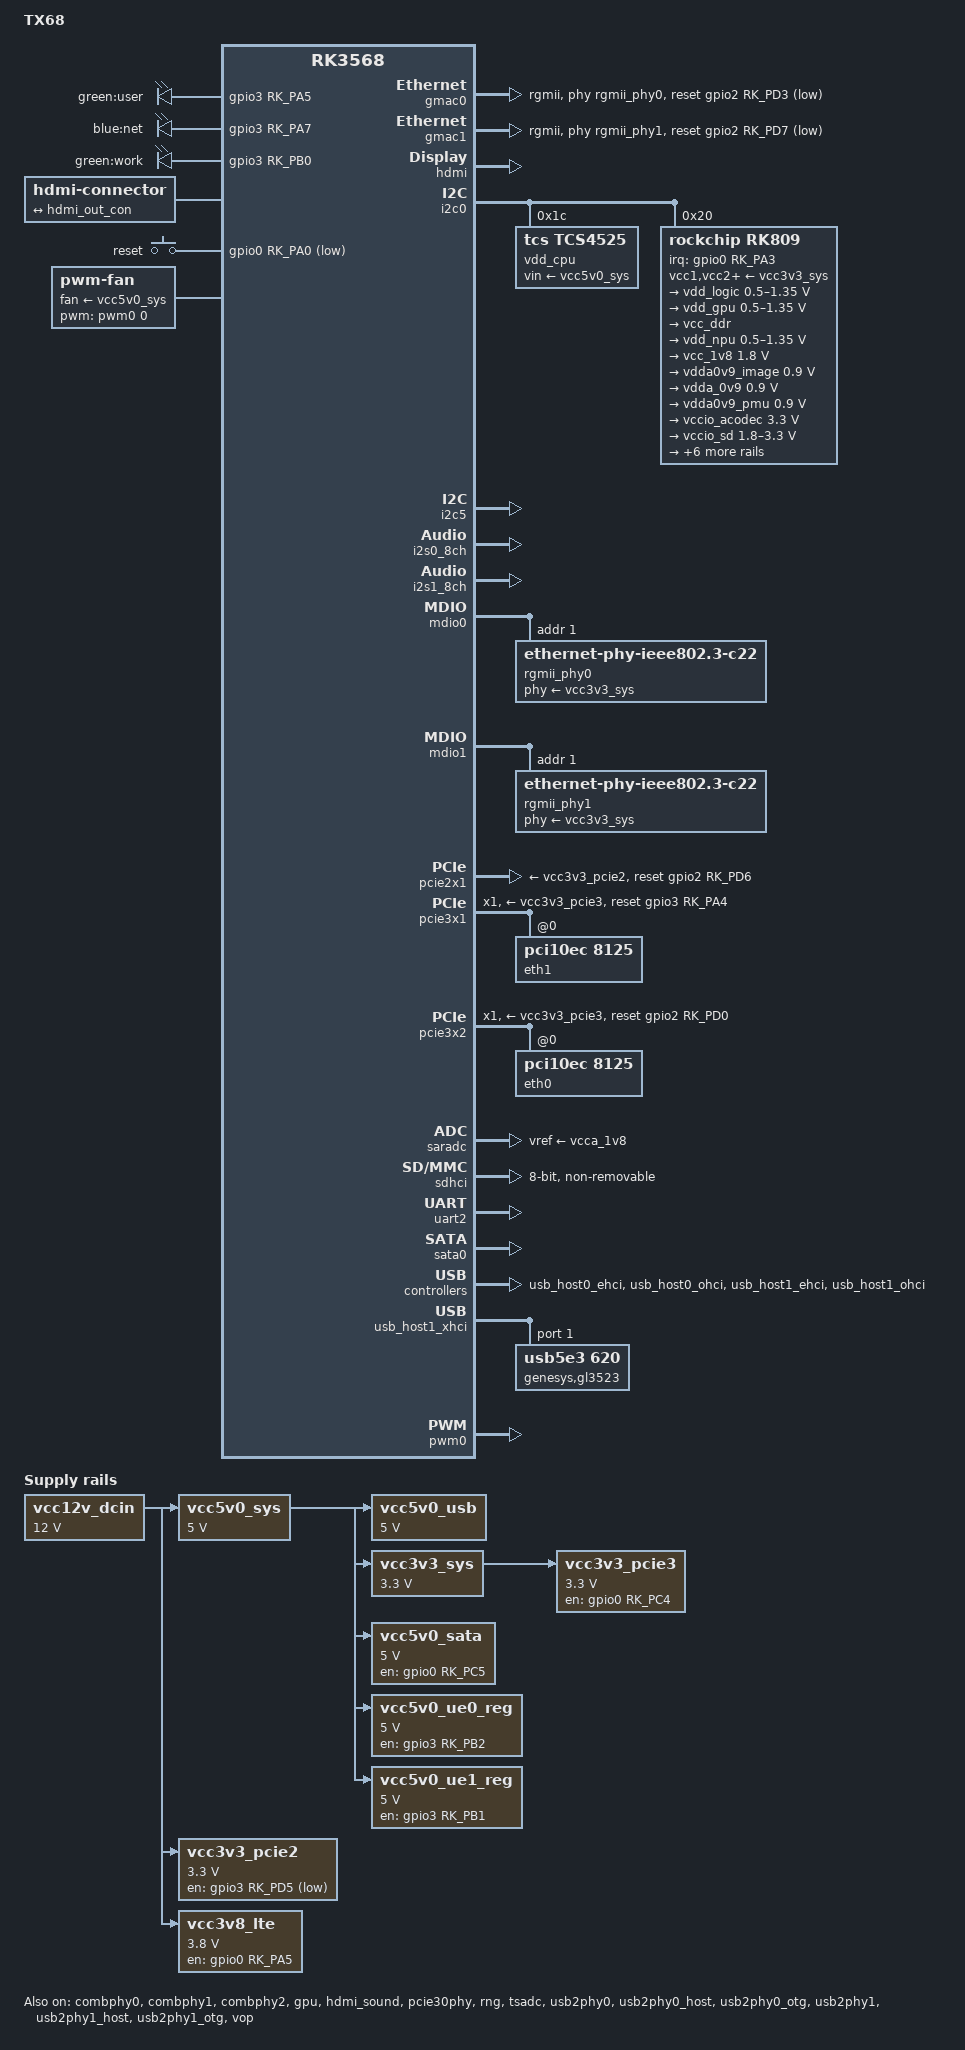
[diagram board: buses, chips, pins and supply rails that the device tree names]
// SPDX-License-Identifier: (GPL-2.0+ OR MIT)
// Copyright (c) 2024 flippy <flippy@sina.com>

/dts-v1/;

#include <dt-bindings/gpio/gpio.h>
#include <dt-bindings/leds/common.h>
#include <dt-bindings/input/input.h>
#include <dt-bindings/pinctrl/rockchip.h>
#include <dt-bindings/soc/rockchip,vop2.h>
#include "rk3568.dtsi"

/ {
	model = "TX68";
	compatible = "rk3568,tx68", "rockchip,rk3568";

	aliases {
		ethernet0 = &rtl8125_2;
		ethernet1 = &rtl8125_1;
		ethernet2 = &gmac1;
		ethernet3 = &gmac0;
		ethernet4 = &rtl8153_1;
		ethernet5 = &rtl8153_2;
		mmc0 = &sdhci;
	};

	chosen: chosen {
		stdout-path = "serial2:1500000n8";
	};

	leds: leds {
		compatible = "gpio-leds";
		pinctrl-names = "default";
		pinctrl-0 = <&led_green_en>, <&led_net_en>, <&led_work_en>;

		led_green: led-green {
			label = "green:user";
			gpios = <&gpio3 RK_PA5 GPIO_ACTIVE_HIGH>;
		};

		led_net: led-net {
			label = "blue:net";
			gpios = <&gpio3 RK_PA7 GPIO_ACTIVE_HIGH>;
		};

		led_work: led-work {
			label = "green:work";
			gpios = <&gpio3 RK_PB0 GPIO_ACTIVE_HIGH>;
		};
	};

	hdmi-con {
		compatible = "hdmi-connector";
		type = "a";

		port {
			hdmi_con_in: endpoint {
				remote-endpoint = <&hdmi_out_con>;
			};
		};
	};

	keys {
		compatible = "gpio-keys";
		pinctrl-0 = <&reset_button_pin>;
		pinctrl-names = "default";

		reset {
			label = "reset";
			gpios = <&gpio0 RK_PA0 GPIO_ACTIVE_LOW>;
			linux,code = <KEY_RESTART>;
			debounce-interval = <50>;
		};
	};


 	fan: pwm-fan {
 		compatible = "pwm-fan";
		cooling-levels = <0 127 163 255>;
 		#cooling-cells = <2>;
 		fan-supply = <&vcc5v0_sys>;
 		pwms = <&pwm0 0 50000 0>;
	};

	rk809-sound {
		compatible = "simple-audio-card";
		simple-audio-card,format = "i2s";
		simple-audio-card,name = "Analog RK809";
		simple-audio-card,mclk-fs = <256>;

		simple-audio-card,cpu {
			sound-dai = <&i2s1_8ch>;
		};
		simple-audio-card,codec {
			sound-dai = <&rk809>;
		};
	};

	rfkill_switchs {
		compatible = "rfkill-gpio";

		modem {
			label = "lte-modem";
			radio-type = "wwan";
			reset-gpios = <&gpio0 RK_PC0 GPIO_ACTIVE_HIGH>;
			pinctrl-names = "default";
			pinctrl-0 = <&lte_modem_reset>;
		};
	};

	vcc12v_dcin: vcc-12v-regulator {
		compatible = "regulator-fixed";
		regulator-name = "vcc12v_dcin";
		regulator-always-on;
		regulator-boot-on;
		regulator-min-microvolt = <12000000>;
		regulator-max-microvolt = <12000000>;
	};

	vcc5v0_sys: vcc5v0-sys-regulator {
		compatible = "regulator-fixed";
		regulator-name = "vcc5v0_sys";
		regulator-always-on;
		regulator-boot-on;
		regulator-min-microvolt = <5000000>;
		regulator-max-microvolt = <5000000>;
		vin-supply = <&vcc12v_dcin>;
	};

	vcc5v0_usb: vcc5v0-usb-regulator {
		compatible = "regulator-fixed";
		regulator-name = "vcc5v0_usb_regulator";
		regulator-always-on;
		regulator-boot-on;
		regulator-min-microvolt = <5000000>;
		regulator-max-microvolt = <5000000>;
		vin-supply = <&vcc5v0_sys>;
	};

	vcc3v3_sys: vcc3v3-sys-regulator {
		compatible = "regulator-fixed";
		regulator-name = "vcc3v3_sys";
		regulator-always-on;
		regulator-boot-on;
		regulator-min-microvolt = <3300000>;
		regulator-max-microvolt = <3300000>;
		vin-supply = <&vcc5v0_sys>;
	};

	/* minipcie power : wifi */
	vcc3v3_pcie2: vcc3v3-pcie2-regulator {
		compatible = "regulator-fixed";
		regulator-min-microvolt = <3300000>;
		regulator-max-microvolt = <3300000>;
		regulator-name = "vcc3v3_pcie2";
		regulator-boot-on;
		regulator-always-on;

		gpio = <&gpio3 RK_PD5 GPIO_ACTIVE_LOW>;

		pinctrl-names = "default";
		pinctrl-0 = <&vcc3v3_pcie2_en>;
		vin-supply = <&vcc12v_dcin>;
	};

	/* eth 2.5g power */
	vcc3v3_pcie3: vcc3v3-pcie3-regulator {
		compatible = "regulator-fixed";
		regulator-min-microvolt = <3300000>;
		regulator-max-microvolt = <3300000>;
		regulator-name = "vcc3v3_pcie3";
		regulator-boot-on;
		regulator-always-on;

		enable-active-high;
		gpio = <&gpio0 RK_PC4 GPIO_ACTIVE_HIGH>;

		pinctrl-names = "default";
		pinctrl-0 = <&vcc3v3_pcie3_en>;
		vin-supply = <&vcc3v3_sys>;
	};

	vcc3v8_lte: vcc3v8-lte-regulator {
		compatible = "regulator-fixed";

		regulator-name = "vcc3v8_lte_regulator";
		regulator-min-microvolt = <3800000>;
		regulator-max-microvolt = <3800000>;

		enable-active-high;
		gpio = <&gpio0 RK_PA5 GPIO_ACTIVE_HIGH>;
		pinctrl-names = "default";
		pinctrl-0 = <&vcc3v8_lte_pwr_en>;

		vin-supply = <&vcc12v_dcin>;

	};

	/* m.2 sata power */
	vcc5v0_sata: vcc5v0-sata {
		compatible = "regulator-fixed";
		regulator-name = "vcc5v0_sata";
		regulator-min-microvolt = <5000000>;
		regulator-max-microvolt = <5000000>;
		regulator-boot-on;
		regulator-always-on;

		enable-active-high;
		gpio = <&gpio0 RK_PC5 GPIO_ACTIVE_HIGH>;
		pinctrl-names = "default";
		pinctrl-0 = <&sata_pwr_en>;
		vin-supply = <&vcc5v0_sys>;
	};

	vcc5v0_ue0_reg: vcc5v0-ue0-regulator {
		compatible = "regulator-fixed";

		regulator-name = "vcc5v0_ue0_regulator";
		regulator-min-microvolt = <5000000>;
		regulator-max-microvolt = <5000000>;
		regulator-boot-on;
		regulator-always-on;

		enable-active-high;
		gpio = <&gpio3 RK_PB2 GPIO_ACTIVE_HIGH>;
		pinctrl-names = "default";
		pinctrl-0 = <&vcc5v0_ue0_reg_en>;

		vin-supply = <&vcc5v0_sys>;
	};

	vcc5v0_ue1_reg: vcc5v0-ue1-regulator {
		compatible = "regulator-fixed";

		regulator-name = "vcc5v0_ue1_regulator";
		regulator-min-microvolt = <5000000>;
		regulator-max-microvolt = <5000000>;
		regulator-boot-on;
		regulator-always-on;

		enable-active-high;
		gpio = <&gpio3 RK_PB1 GPIO_ACTIVE_HIGH>;
		pinctrl-names = "default";
		pinctrl-0 = <&vcc5v0_ue1_reg_en>;

		vin-supply = <&vcc5v0_sys>;
	};
};

/* for sata0 & usb_host0_xhci */
&combphy0 {
	status = "okay";
};

/* for sata1 & usb_host1_xhci */
&combphy1 {
	status = "okay";
};

/* for sata2 & pcie2x1 */
&combphy2 {
	status = "okay";
};

&cpu0 {
	cpu-supply = <&vdd_cpu>;
};

&cpu1 {
	cpu-supply = <&vdd_cpu>;
};

&cpu2 {
	cpu-supply = <&vdd_cpu>;
};

&cpu3 {
	cpu-supply = <&vdd_cpu>;
};

&gmac0 {
	assigned-clocks = <&cru SCLK_GMAC0_RX_TX>, <&cru SCLK_GMAC0>;
	assigned-clock-parents = <&cru SCLK_GMAC0_RGMII_SPEED>;
	assigned-clock-rates = <0>, <125000000>;
	clock_in_out = "output";
	phy-mode = "rgmii";
	label = "eth3";
	pinctrl-names = "default";
	pinctrl-0 = <&gmac0_miim
		     &gmac0_tx_bus2
		     &gmac0_rx_bus2
		     &gmac0_rgmii_clk
		     &gmac0_rgmii_bus>;
	snps,reset-gpio = <&gpio2 RK_PD3 GPIO_ACTIVE_LOW>;
	snps,reset-active-low;
	snps,reset-delays-us = <0 50000 200000>;
	tx_delay = <0x36>;
	rx_delay = <0x29>;
	phy-handle = <&rgmii_phy0>;
	status = "okay";
};

&gmac1 {
	assigned-clocks = <&cru SCLK_GMAC1_RX_TX>, <&cru SCLK_GMAC1>;
	assigned-clock-parents = <&cru SCLK_GMAC1_RGMII_SPEED>;
	assigned-clock-rates = <0>, <125000000>;
	clock_in_out = "output";
	label = "eth2";
	phy-mode = "rgmii";
	pinctrl-names = "default";
	pinctrl-0 = <&gmac1m1_miim
		     &gmac1m1_tx_bus2
		     &gmac1m1_rx_bus2
		     &gmac1m1_rgmii_clk
		     &gmac1m1_rgmii_bus>;
	snps,reset-gpio = <&gpio2 RK_PD7 GPIO_ACTIVE_LOW>;
	snps,reset-active-low;
	snps,reset-delays-us = <0 50000 200000>;
	tx_delay = <0x46>;
	rx_delay = <0x26>;
	phy-handle = <&rgmii_phy1>;
	status = "okay";
};

&gpu {
	mali-supply = <&vdd_gpu>;
	status = "okay";
};

&hdmi {
	avdd-0v9-supply = <&vdda0v9_image>;
	avdd-1v8-supply = <&vcca1v8_image>;
	status = "okay";
};

&hdmi_in {
	hdmi_in_vp0: endpoint {
		remote-endpoint = <&vp0_out_hdmi>;
	};
};

&hdmi_out {
	hdmi_out_con: endpoint {
		remote-endpoint = <&hdmi_con_in>;
	};
};

&hdmi_sound {
	status = "okay";
};

&i2c0 {
	status = "okay";

	vdd_cpu: regulator@1c {
		compatible = "tcs,tcs4525";
		reg = <0x1c>;
		fcs,suspend-voltage-selector = <1>;
		regulator-name = "vdd_cpu";
		regulator-always-on;
		regulator-boot-on;
		regulator-min-microvolt = <800000>;
		regulator-max-microvolt = <1150000>;
		regulator-ramp-delay = <2300>;
		vin-supply = <&vcc5v0_sys>;

		regulator-state-mem {
			regulator-off-in-suspend;
		};
	};

	rk809: pmic@20 {
		compatible = "rockchip,rk809";
		reg = <0x20>;

		interrupt-parent = <&gpio0>;
		interrupts = <RK_PA3 IRQ_TYPE_LEVEL_LOW>;

		assigned-clocks = <&cru I2S1_MCLKOUT_TX>;
		assigned-clock-parents = <&cru CLK_I2S1_8CH_TX>;
		#sound-dai-cells = <0>;

		#clock-cells = <1>;
		clock-names = "mclk";
		clocks = <&cru I2S1_MCLKOUT_TX>;

		pinctrl-names = "default";
		pinctrl-0 = <&pmic_int>, <&i2s1m0_mclk>;

		rockchip,system-power-controller;
		wakeup-source;

		vcc1-supply = <&vcc3v3_sys>;
		vcc2-supply = <&vcc3v3_sys>;
		vcc3-supply = <&vcc3v3_sys>;
		vcc4-supply = <&vcc3v3_sys>;
		vcc5-supply = <&vcc3v3_sys>;
		vcc6-supply = <&vcc3v3_sys>;
		vcc7-supply = <&vcc3v3_sys>;
		vcc8-supply = <&vcc3v3_sys>;
		vcc9-supply = <&vcc3v3_sys>;

		pwrkey {
			status = "okay";
		};

		pinctrl_rk8xx: pinctrl_rk8xx {
			gpio-controller;
			#gpio-cells = <2>;

			rk817_slppin_null: rk817_slppin_null {
				pins = "gpio_slp";
				function = "pin_fun0";
			};

			rk817_slppin_slp: rk817_slppin_slp {
				pins = "gpio_slp";
				function = "pin_fun1";
			};

			rk817_slppin_pwrdn: rk817_slppin_pwrdn {
				pins = "gpio_slp";
				function = "pin_fun2";
			};

			rk817_slppin_rst: rk817_slppin_rst {
				pins = "gpio_slp";
				function = "pin_fun3";
			};
		};

		regulators {
			vdd_logic: DCDC_REG1 {
				regulator-name = "vdd_logic";
				regulator-always-on;
				regulator-boot-on;
				regulator-init-microvolt = <900000>;
				regulator-initial-mode = <0x2>;
				regulator-min-microvolt = <500000>;
				regulator-max-microvolt = <1350000>;
				regulator-ramp-delay = <6001>;

				regulator-state-mem {
					regulator-off-in-suspend;
				};
			};

			vdd_gpu: DCDC_REG2 {
				regulator-name = "vdd_gpu";
				regulator-always-on;
				regulator-init-microvolt = <900000>;
				regulator-initial-mode = <0x2>;
				regulator-min-microvolt = <500000>;
				regulator-max-microvolt = <1350000>;
				regulator-ramp-delay = <6001>;

				regulator-state-mem {
					regulator-off-in-suspend;
				};
			};

			vcc_ddr: DCDC_REG3 {
				regulator-name = "vcc_ddr";
				regulator-always-on;
				regulator-boot-on;
				regulator-initial-mode = <0x2>;

				regulator-state-mem {
					regulator-on-in-suspend;
				};
			};

			vdd_npu: DCDC_REG4 {
				regulator-name = "vdd_npu";
				regulator-init-microvolt = <900000>;
				regulator-initial-mode = <0x2>;
				regulator-min-microvolt = <500000>;
				regulator-max-microvolt = <1350000>;
				regulator-ramp-delay = <6001>;

				regulator-state-mem {
					regulator-off-in-suspend;
				};
			};

			vcc_1v8: DCDC_REG5 {
				regulator-name = "vcc_1v8";
				regulator-always-on;
				regulator-boot-on;
				regulator-min-microvolt = <1800000>;
				regulator-max-microvolt = <1800000>;

				regulator-state-mem {
					regulator-off-in-suspend;
				};
			};

			vdda0v9_image: LDO_REG1 {
				regulator-name = "vdda0v9_image";
				regulator-min-microvolt = <900000>;
				regulator-max-microvolt = <900000>;

				regulator-state-mem {
					regulator-off-in-suspend;
				};
			};

			vdda_0v9: LDO_REG2 {
				regulator-name = "vdda_0v9";
				regulator-always-on;
				regulator-boot-on;
				regulator-min-microvolt = <900000>;
				regulator-max-microvolt = <900000>;

				regulator-state-mem {
					regulator-off-in-suspend;
				};
			};

			vdda0v9_pmu: LDO_REG3 {
				regulator-name = "vdda0v9_pmu";
				regulator-always-on;
				regulator-boot-on;
				regulator-min-microvolt = <900000>;
				regulator-max-microvolt = <900000>;

				regulator-state-mem {
					regulator-on-in-suspend;
					regulator-suspend-microvolt = <900000>;
				};
			};

			vccio_acodec: LDO_REG4 {
				regulator-name = "vccio_acodec";
				regulator-always-on;
				regulator-min-microvolt = <3300000>;
				regulator-max-microvolt = <3300000>;

				regulator-state-mem {
					regulator-off-in-suspend;
				};
			};

			vccio_sd: LDO_REG5 {
				regulator-name = "vccio_sd";
				regulator-min-microvolt = <1800000>;
				regulator-max-microvolt = <3300000>;

				regulator-state-mem {
					regulator-off-in-suspend;
				};
			};

			vcc3v3_pmu: LDO_REG6 {
				regulator-name = "vcc3v3_pmu";
				regulator-always-on;
				regulator-boot-on;
				regulator-min-microvolt = <3300000>;
				regulator-max-microvolt = <3300000>;

				regulator-state-mem {
					regulator-on-in-suspend;
					regulator-suspend-microvolt = <3300000>;
				};
			};

			vcca_1v8: LDO_REG7 {
				regulator-name = "vcca_1v8";
				regulator-always-on;
				regulator-boot-on;
				regulator-min-microvolt = <1800000>;
				regulator-max-microvolt = <1800000>;

				regulator-state-mem {
					regulator-off-in-suspend;
				};
			};

			vcca1v8_pmu: LDO_REG8 {
				regulator-name = "vcca1v8_pmu";
				regulator-always-on;
				regulator-boot-on;
				regulator-min-microvolt = <1800000>;
				regulator-max-microvolt = <1800000>;

				regulator-state-mem {
					regulator-on-in-suspend;
					regulator-suspend-microvolt = <1800000>;
				};
			};

			vcca1v8_image: LDO_REG9 {
				regulator-name = "vcca1v8_image";
				regulator-min-microvolt = <1800000>;
				regulator-max-microvolt = <1800000>;

				regulator-state-mem {
					regulator-off-in-suspend;
				};
			};

			vcc_3v3: SWITCH_REG1 {
				regulator-name = "vcc_3v3";
				regulator-always-on;
				regulator-boot-on;

				regulator-state-mem {
					regulator-off-in-suspend;
				};
			};

			vcc3v3_sd: SWITCH_REG2 {
				regulator-name = "vcc3v3_sd";

				regulator-state-mem {
					regulator-off-in-suspend;
				};
			};
		};

		rk809_codec: codec {
			#sound-dai-cells = <0>;
			compatible = "rockchip,rk809-codec", "rockchip,rk817-codec";
			clocks = <&cru I2S1_MCLKOUT_TX>;
			clock-names = "mclk";
			assigned-clocks = <&cru I2S1_MCLKOUT_TX>;
			assigned-clock-parents = <&cru CLK_I2S1_8CH_TX>;
			pinctrl-names = "default";
			pinctrl-0 = <&i2s1m0_mclk>;
			hp-volume = <20>;
			spk-volume = <3>;
			mic-in-differential;
			status = "okay";
		};
	};
};

&i2c5 {
	status = "okay";
};

&i2s0_8ch {
	status = "okay";
};

&i2s1_8ch {
	rockchip,trcm-sync-tx-only;
	status = "okay";
};

&mdio0 {
	rgmii_phy0: ethernet-phy@1 {
		compatible = "ethernet-phy-ieee802.3-c22";
		phy-supply = <&vcc3v3_sys>;
		reg = <0x1>;
	};
};

&mdio1 {
	rgmii_phy1: ethernet-phy@1 {
		compatible = "ethernet-phy-ieee802.3-c22";
		phy-supply = <&vcc3v3_sys>;
		reg = <0x1>;
	};
};

&pcie2x1 {
	reset-gpios = <&gpio2 RK_PD6 GPIO_ACTIVE_HIGH>;
	vpcie3v3-supply = <&vcc3v3_pcie2>;
	status = "okay";
};

&pcie30phy {
	data-lanes = <1 2>;
	status = "okay";
};

&pcie3x1 {
	num-lanes = <1>;
	reset-gpios = <&gpio3 RK_PA4 GPIO_ACTIVE_HIGH>;
	vpcie3v3-supply = <&vcc3v3_pcie3>;
	status = "okay";

	pcie@0,0 {
		reg = <0x00100000 0 0 0 0>;
		#address-cells = <3>;
		#size-cells = <2>;

		rtl8125_1: pcie-ethernet@10,0 {
			compatible = "pci10ec,8125";
			label = "eth1";
			reg = <0x000000 0 0 0 0>;
			realtek,led-data = <0x0200>;
		};
	};
};

&pcie3x2 {
	num-lanes = <1>;
	rockchip,init-delay-ms = <100>;
	reset-gpios = <&gpio2 RK_PD0 GPIO_ACTIVE_HIGH>;
	vpcie3v3-supply = <&vcc3v3_pcie3>;
	status = "okay";

	pcie@0,0 {
		reg = <0x00200000 0 0 0 0>;
		#address-cells = <3>;
		#size-cells = <2>;

		rtl8125_2: pcie-ethernet@20,0 {
			compatible = "pci10ec,8125";
			label = "eth0";
			reg = <0x000000 0 0 0 0>;
			realtek,led-data = <0x0200>;
		};
	};
};

&pinctrl {
	button {
		reset_button_pin: reset-button-pin {
			rockchip,pins = <0 RK_PA0 RK_FUNC_GPIO &pcfg_pull_up>;
		};
	};

	leds {
		led_green_en: led-green-en {
			rockchip,pins = <3 RK_PA5 RK_FUNC_GPIO &pcfg_pull_none>;
		};

		led_net_en: led-net-en {
			rockchip,pins = <3 RK_PA7 RK_FUNC_GPIO &pcfg_pull_none>;
		};

		led_work_en: led-work-en {
			rockchip,pins = <3 RK_PB0 RK_FUNC_GPIO &pcfg_pull_none>;
		};
	};

	modem {
		vcc3v8_lte_pwr_en:  vcc3v8_lte_pwr-en {
			rockchip,pins = <0 RK_PA5 RK_FUNC_GPIO &pcfg_pull_none>;
		};

		lte_modem_reset: lte-modem-reset {
			rockchip,pins = <0 RK_PC0 RK_FUNC_GPIO &pcfg_pull_none>;
		};
	};

	pcie {
		vcc3v3_pcie2_en: vcc3v3_pcie2_en {
			rockchip,pins = <3 RK_PD5 RK_FUNC_GPIO &pcfg_pull_none>;
		};

		vcc3v3_pcie3_en: vcc3v3_pcie3_en {
			rockchip,pins = <0 RK_PC4 RK_FUNC_GPIO &pcfg_pull_none>;
		};
	};

	pmic {
		pmic_int: pmic-int {
			rockchip,pins = <0 RK_PA3 RK_FUNC_GPIO &pcfg_pull_up>;
		};
	};

	sd {
		vcc3v3_sd_en: vcc3v3-sd_en {
			rockchip,pins = <0 RK_PA6 RK_FUNC_GPIO &pcfg_pull_none>;
		};
	};

	usb {
		vcc5v0_ue0_reg_en: vcc5v0-ue0-reg-en {
			rockchip,pins = <3 RK_PB2 RK_FUNC_GPIO &pcfg_pull_none>;
		};

		vcc5v0_ue1_reg_en: vcc5v0-ue1-reg-en {
			rockchip,pins = <3 RK_PB1 RK_FUNC_GPIO &pcfg_pull_none>;
		};
	};

	sata {
		sata_pwr_en: sata-pwr-en {
			rockchip,pins = <0 RK_PC5 RK_FUNC_GPIO &pcfg_pull_none>;
		};
	};
};

&pmu_io_domains {
	pmuio1-supply = <&vcc3v3_pmu>;
	pmuio2-supply = <&vcc3v3_pmu>;
	vccio1-supply = <&vccio_acodec>;
	vccio2-supply = <&vcc_1v8>;
	vccio3-supply = <&vccio_sd>;
	vccio4-supply = <&vcc_1v8>;
	vccio5-supply = <&vcc_3v3>;
	vccio6-supply = <&vcc_1v8>;
	vccio7-supply = <&vcc_3v3>;
	status = "okay";
};

&rng {
	status = "okay";
};

&saradc {
	vref-supply = <&vcca_1v8>;
	status = "okay";
};

&sdhci {
	bus-width = <8>;
	max-frequency = <200000000>;
	non-removable;
	pinctrl-names = "default";
	pinctrl-0 = <&emmc_bus8 &emmc_clk &emmc_cmd &emmc_datastrobe>;
	status = "okay";
};

&tsadc {
	rockchip,hw-tshut-mode = <1>;
	rockchip,hw-tshut-polarity = <0>;
	status = "okay";
};

&uart2 {
	status = "okay";
};

&sata0 {
	status = "okay";
};

&usb_host0_ehci {
	status = "okay";
};

&usb_host0_ohci {
	status = "okay";
};

&usb_host0_xhci {
	status = "disabled";
};

&usb_host1_ehci {
	status = "okay";
};

&usb_host1_ohci {
	status = "okay";
};

&usb_host1_xhci {
	#address-cells = <1>;
	#size-cells = <0>;
	status = "okay";

	usb_hub: usb-hub@1 {
		compatible = "usb5e3,620";
		#address-cells = <1>;
		#size-cells = <0>;
		label = "genesys,gl3523";
		reg = <0x1>;

		rtl8153_1: usb-ethernet@2 {
			compatible = "usbbda,8153";
			reg = <0x2>;
			label = "eth4";
			//realtek,led-data = <0x87>;
		};

		rtl8153_2: usb-ethernet@3 {
			compatible = "usbbda,8153";
			reg = <0x3>;
			label = "eth5";
			//realtek,led-data = <0x87>;
		};
	};
};

&usb2phy0 {
	status = "okay";
};

&usb2phy0_host {
	phy-supply = <&vcc5v0_usb>;
	status = "okay";
};

&usb2phy0_otg {
	phy-supply = <&vcc5v0_usb>;
	status = "okay";
};

&usb2phy1 {
	status = "okay";
};

&usb2phy1_host {
	phy-supply = <&vcc5v0_usb>;
	status = "okay";
};

&usb2phy1_otg {
	phy-supply = <&vcc5v0_usb>;
	status = "okay";
};

&vop {
	assigned-clocks = <&cru DCLK_VOP0>, <&cru DCLK_VOP1>;
	assigned-clock-parents = <&pmucru PLL_HPLL>, <&cru PLL_VPLL>;
	status = "okay";
};

&vop_mmu {
	status = "okay";
};

&vp0 {
	vp0_out_hdmi: endpoint@ROCKCHIP_VOP2_EP_HDMI0 {
		reg = <ROCKCHIP_VOP2_EP_HDMI0>;
		remote-endpoint = <&hdmi_in_vp0>;
	};
};

&pwm0 {
	status = "okay";
};

&cpu_thermal {
	trips {
		cpu_cool: cpu_cool {
			temperature = <45000>;
			hysteresis = <2000>;
			type = "active";
		};

		cpu_warm: cpu_warm {
			temperature = <55000>;
			hysteresis = <2000>;
			type = "active";
		};

		cpu_hot: cpu_hot {
			temperature = <65000>;
			hysteresis = <2000>;
			type = "active";
		};
	};

	cooling-maps {
		map1 {
			trip = <&cpu_cool>;
			cooling-device = <&fan THERMAL_NO_LIMIT 1>;
		};

		map2 {
			trip = <&cpu_warm>;
			cooling-device = <&fan 2 THERMAL_NO_LIMIT>;
		};

		map3 {
			trip = <&cpu_hot>;
			cooling-device = <&fan 3 THERMAL_NO_LIMIT>;
		};
	};
};
